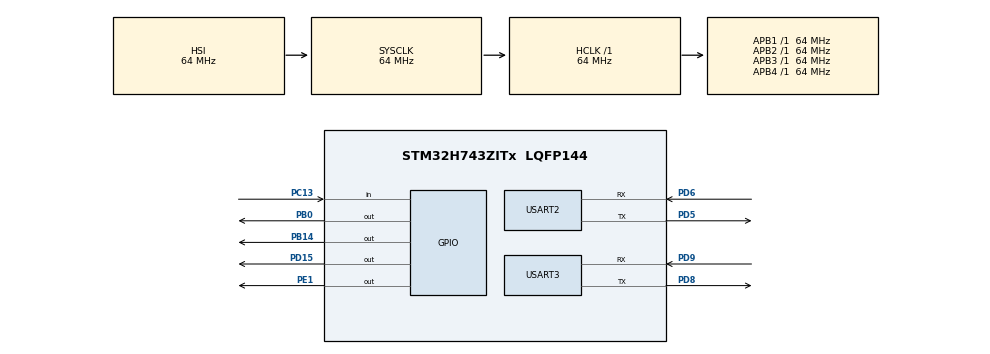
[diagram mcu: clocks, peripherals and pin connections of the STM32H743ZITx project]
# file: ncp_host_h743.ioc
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CORTEX_M7.default_mode_Activation=1
Mcu.Family=STM32H7
Mcu.Name=STM32H743ZITx
Mcu.Package=LQFP144
NUCLEO-H743ZI2.BUTTON=1
NUCLEO-H743ZI2.LD1=true
NUCLEO-H743ZI2.LD2=true
NUCLEO-H743ZI2.LD3=true
NUCLEO-H743ZI2.VCP=false
NVIC.EXTI15_10_IRQn=true\:0\:0\:false\:false\:true\:false\:true\:true
NVIC.PriorityGroup=NVIC_PRIORITYGROUP_4
NVIC.USART2_IRQn=true\:0\:0\:false\:false\:true\:true\:true\:true
NVIC.USART3_IRQn=true\:0\:0\:false\:false\:true\:true\:true\:true
PA13\ (JTMS/SWDIO).GPIO_Label=JTMS
PA13\ (JTMS/SWDIO).Signal=DEBUG_JTMS-SWDIO
PA14\ (JTCK/SWCLK).GPIO_Label=JTCK
PA14\ (JTCK/SWCLK).Signal=DEBUG_JTCK-SWCLK
PB0.Signal=GPIO_Output
PB14.Signal=GPIO_Output
PC13.Signal=GPIO_Input
PC14-OSC32_IN\ (OSC32_IN).Signal=RCC_OSC32_IN
PC15-OSC32_OUT\ (OSC32_OUT).Signal=RCC_OSC32_OUT
PD15.Signal=GPIO_Output
PD5.Mode=Asynchronous
PD5.Signal=USART2_TX
PD6.Mode=Asynchronous
PD6.Signal=USART2_RX
PD8.Mode=Asynchronous
PD8.Signal=USART3_TX
PD9.Mode=Asynchronous
PD9.Signal=USART3_RX
PE1.Signal=GPIO_Output
PH0-OSC_IN\ (PH0).Signal=RCC_OSC_IN
PH1-OSC_OUT\ (PH1).Signal=RCC_OSC_OUT
ProjectManager.HeapSize=0x200
ProjectManager.StackSize=0x400
ProjectManager.TargetToolchain=STM32CubeIDE
RCC.ADCFreq_Value=129000000
RCC.APB1Freq_Value=64000000
RCC.APB2Freq_Value=64000000
RCC.APB3Freq_Value=64000000
RCC.APB4Freq_Value=64000000
RCC.CortexFreq_Value=64000000
RCC.HCLKFreq_Value=64000000
RCC.SYSCLKFreq_VALUE=64000000
RCC.USBFreq_Value=129000000
USART2.VirtualMode-Asynchronous=VM_ASYNC
USART3.VirtualMode-Asynchronous=VM_ASYNC
VP_MEMORYMAP_VS_MEMORYMAP.Mode=CurAppReg
VP_NUCLEO-H743ZI2_VS_BSP_COMMON.Mode=COMMON
board=NUCLEO-H743ZI2

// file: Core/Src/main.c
/* USER CODE BEGIN Header */
/**
 ******************************************************************************
 * @file           : main.c
 * @brief          : Main program body
 ******************************************************************************
 * @attention
 *
 * Copyright (c) 2025 STMicroelectronics.
 * All rights reserved.
 *
 * This software is licensed under terms that can be found in the LICENSE file
 * in the root directory of this software component.
 * If no LICENSE file comes with this software, it is provided AS-IS.
 *
 ******************************************************************************
 */
/* USER CODE END Header */
#include "main.h"

/* USER CODE BEGIN Includes */
#include <stdio.h>
#include "sl_boltON.h"

/* USER CODE END Includes */

/* USER CODE BEGIN PM */

// LED on the STM kit
#define LED_PORT  GPIOB
#define LED_PIN   GPIO_PIN_0

// LED on the boltON
#define BOLTON_LED_PORT  GPIOD
#define BOLTON_LED_PIN   GPIO_PIN_15

/* USER CODE END PM */

UART_HandleTypeDef huart2;
UART_HandleTypeDef huart3;

/* USER CODE BEGIN PV */

// BoltON - huart2
// USB - huart3

// The advertising set handle allocated by the Bluetooth stack
static uint8_t advertising_set_handle = 0xff;

static const uint8_t advertised_name[] = "boltON STM32";
static uint16_t gattdb_session_id;
static uint16_t generic_access_service_handle;
static uint16_t device_name_characteristic_handle;

/* USER CODE END PV */

void SystemClock_Config(void);
static void MPU_Config(void);
static void MX_GPIO_Init(void);
static void MX_USART3_UART_Init(void);
static void MX_USART2_UART_Init(void);
/* USER CODE BEGIN PFP */

void sl_bt_on_event(sl_bt_msg_t *evt);
static void ble_initialize_gatt_db();

/* USER CODE END PFP */

int main(void)
{

  /* MPU Configuration--------------------------------------------------------*/
  MPU_Config();

  /* MCU Configuration--------------------------------------------------------*/

  /* Reset of all peripherals, Initializes the Flash interface and the Systick. */
  HAL_Init();

  /* Configure the system clock */
  SystemClock_Config();

  /* Initialize all configured peripherals */
  MX_GPIO_Init();
  MX_USART3_UART_Init();
  MX_USART2_UART_Init();
  /* USER CODE BEGIN 2 */

  printf("boltON by Silicon Labs\n");
  printf("Initializing BLE...\n");
  bool res = sl_bolton_init();
  assert(res);

  /* USER CODE END 2 */

  /* Initialize leds */
  BSP_LED_Init(LED_GREEN);
  BSP_LED_Init(LED_YELLOW);
  BSP_LED_Init(LED_RED);

  /* Initialize USER push-button, will be used to trigger an interrupt each time it's pressed.*/
  BSP_PB_Init(BUTTON_USER, BUTTON_MODE_EXTI);

  /* Infinite loop */
  while (1) {

    /* USER CODE BEGIN 3 */
    sl_bolton_process();
  }
  /* USER CODE END 3 */
}

void SystemClock_Config(void)
{
  RCC_OscInitTypeDef RCC_OscInitStruct = { 0 };
  RCC_ClkInitTypeDef RCC_ClkInitStruct = { 0 };

  /** Supply configuration update enable
   */
  HAL_PWREx_ConfigSupply(PWR_LDO_SUPPLY);

  /** Configure the main internal regulator output voltage
   */
  __HAL_PWR_VOLTAGESCALING_CONFIG(PWR_REGULATOR_VOLTAGE_SCALE3);

  while (!__HAL_PWR_GET_FLAG(PWR_FLAG_VOSRDY)) {
  }

  /** Initializes the RCC Oscillators according to the specified parameters
   * in the RCC_OscInitTypeDef structure.
   */
  RCC_OscInitStruct.OscillatorType = RCC_OSCILLATORTYPE_HSI;
  RCC_OscInitStruct.HSIState = RCC_HSI_DIV1;
  RCC_OscInitStruct.HSICalibrationValue = RCC_HSICALIBRATION_DEFAULT;
  RCC_OscInitStruct.PLL.PLLState = RCC_PLL_NONE;
  if (HAL_RCC_OscConfig(&RCC_OscInitStruct) != HAL_OK) {
    Error_Handler();
  }

  /** Initializes the CPU, AHB and APB buses clocks
   */
  RCC_ClkInitStruct.ClockType = RCC_CLOCKTYPE_HCLK | RCC_CLOCKTYPE_SYSCLK
                                | RCC_CLOCKTYPE_PCLK1 | RCC_CLOCKTYPE_PCLK2
                                | RCC_CLOCKTYPE_D3PCLK1 | RCC_CLOCKTYPE_D1PCLK1;
  RCC_ClkInitStruct.SYSCLKSource = RCC_SYSCLKSOURCE_HSI;
  RCC_ClkInitStruct.SYSCLKDivider = RCC_SYSCLK_DIV1;
  RCC_ClkInitStruct.AHBCLKDivider = RCC_HCLK_DIV1;
  RCC_ClkInitStruct.APB3CLKDivider = RCC_APB3_DIV1;
  RCC_ClkInitStruct.APB1CLKDivider = RCC_APB1_DIV1;
  RCC_ClkInitStruct.APB2CLKDivider = RCC_APB2_DIV1;
  RCC_ClkInitStruct.APB4CLKDivider = RCC_APB4_DIV1;

  if (HAL_RCC_ClockConfig(&RCC_ClkInitStruct, FLASH_LATENCY_1) != HAL_OK) {
    Error_Handler();
  }
}

static void MX_USART2_UART_Init(void)
{

  huart2.Instance = USART2;
  huart2.Init.BaudRate = 115200;
  huart2.Init.WordLength = UART_WORDLENGTH_8B;
  huart2.Init.StopBits = UART_STOPBITS_1;
  huart2.Init.Parity = UART_PARITY_NONE;
  huart2.Init.Mode = UART_MODE_TX_RX;
  huart2.Init.HwFlowCtl = UART_HWCONTROL_NONE;
  huart2.Init.OverSampling = UART_OVERSAMPLING_16;
  huart2.Init.OneBitSampling = UART_ONE_BIT_SAMPLE_DISABLE;
  huart2.Init.ClockPrescaler = UART_PRESCALER_DIV1;
  huart2.AdvancedInit.AdvFeatureInit = UART_ADVFEATURE_NO_INIT;
  if (HAL_UART_Init(&huart2) != HAL_OK) {
    Error_Handler();
  }
  if (HAL_UARTEx_SetTxFifoThreshold(&huart2, UART_TXFIFO_THRESHOLD_1_8) != HAL_OK) {
    Error_Handler();
  }
  if (HAL_UARTEx_SetRxFifoThreshold(&huart2, UART_RXFIFO_THRESHOLD_1_8) != HAL_OK) {
    Error_Handler();
  }
  if (HAL_UARTEx_DisableFifoMode(&huart2) != HAL_OK) {
    Error_Handler();
  }
}

static void MX_USART3_UART_Init(void)
{

  huart3.Instance = USART3;
  huart3.Init.BaudRate = 115200;
  huart3.Init.WordLength = UART_WORDLENGTH_8B;
  huart3.Init.StopBits = UART_STOPBITS_1;
  huart3.Init.Parity = UART_PARITY_NONE;
  huart3.Init.Mode = UART_MODE_TX_RX;
  huart3.Init.HwFlowCtl = UART_HWCONTROL_NONE;
  huart3.Init.OverSampling = UART_OVERSAMPLING_16;
  huart3.Init.OneBitSampling = UART_ONE_BIT_SAMPLE_DISABLE;
  huart3.Init.ClockPrescaler = UART_PRESCALER_DIV1;
  huart3.AdvancedInit.AdvFeatureInit = UART_ADVFEATURE_NO_INIT;
  if (HAL_UART_Init(&huart3) != HAL_OK) {
    Error_Handler();
  }
  if (HAL_UARTEx_SetTxFifoThreshold(&huart3, UART_TXFIFO_THRESHOLD_1_8) != HAL_OK) {
    Error_Handler();
  }
  if (HAL_UARTEx_SetRxFifoThreshold(&huart3, UART_RXFIFO_THRESHOLD_1_8) != HAL_OK) {
    Error_Handler();
  }
  if (HAL_UARTEx_DisableFifoMode(&huart3) != HAL_OK) {
    Error_Handler();
  }
}

static void MX_GPIO_Init(void)
{
  GPIO_InitTypeDef GPIO_InitStruct = { 0 };

  /* GPIO Ports Clock Enable */
  __HAL_RCC_GPIOC_CLK_ENABLE();
  __HAL_RCC_GPIOH_CLK_ENABLE();
  __HAL_RCC_GPIOD_CLK_ENABLE();
  __HAL_RCC_GPIOA_CLK_ENABLE();

  /*Configure GPIO pin Output Level */
  HAL_GPIO_WritePin(GPIOD, GPIO_PIN_15, GPIO_PIN_RESET);

  /*Configure GPIO pin : PD15 */
  GPIO_InitStruct.Pin = GPIO_PIN_15;
  GPIO_InitStruct.Mode = GPIO_MODE_OUTPUT_PP;
  GPIO_InitStruct.Pull = GPIO_NOPULL;
  GPIO_InitStruct.Speed = GPIO_SPEED_FREQ_LOW;
  HAL_GPIO_Init(GPIOD, &GPIO_InitStruct);

}

/* USER CODE BEGIN 4 */

void HAL_UART_RxCpltCallback(UART_HandleTypeDef *huart)
{
  if (huart->Instance == BOLTON_UART_INSATNCE) {
    sl_bolton_buffer_received_data(1, &bolton_usart_rx_byte);
    // Restart reception
    HAL_UART_Receive_IT(&BOLTON_UART_HANDLE, &bolton_usart_rx_byte, 1);
  }
}

// printf
int _write(int file, char *data, int len)
{
  HAL_UART_Transmit(&huart3, (uint8_t*)data, len, HAL_MAX_DELAY);
  return len;
}

/**************************************************************************//**
 * Bluetooth stack event handler
 * This overrides the default weak implementation
 *
 * @param[in] evt Event coming from the Bluetooth stack
 *****************************************************************************/
void sl_bt_on_event(sl_bt_msg_t *evt)
{
  sl_status_t sc;

  switch (SL_BT_MSG_ID(evt->header)) {
    // -------------------------------
    // This event indicates the device has started and the radio is ready.
    // Do not call any stack command before receiving this boot event!
    case sl_bt_evt_system_boot_id:
    {
      bd_addr address;
      uint8_t address_type;
      uint8_t system_id[8];
      printf("BLE stack booted\n");
      ble_initialize_gatt_db();

      // Extract unique ID from BT Address
      sc = sl_bt_gap_get_identity_address(&address, &address_type);
      assert(sc == SL_STATUS_OK);

      // Pad and reverse unique ID to get System ID
      system_id[0] = address.addr[5];
      system_id[1] = address.addr[4];
      system_id[2] = address.addr[3];
      system_id[3] = address.addr[2];
      system_id[4] = address.addr[1];
      system_id[5] = address.addr[0];
      printf("System identity address: %02x:%02x:%02x:%02x:%02x:%02x\n",
             system_id[0],
             system_id[1],
             system_id[2],
             system_id[3],
             system_id[4],
             system_id[5]);

      // Create an advertising set
      sc = sl_bt_advertiser_create_set(&advertising_set_handle);
      assert(sc == SL_STATUS_OK);

      // Generate data for advertising
      sc = sl_bt_legacy_advertiser_generate_data(advertising_set_handle,
                                                 sl_bt_advertiser_general_discoverable);
      assert(sc == SL_STATUS_OK);

      // Set advertising interval to 100ms
      sc = sl_bt_advertiser_set_timing(
        advertising_set_handle,
        160, // min. adv. interval (milliseconds * 1.6)
        160, // max. adv. interval (milliseconds * 1.6)
        0,   // adv. duration
        0);  // max. num. adv. events
      assert(sc == SL_STATUS_OK);
      // Start advertising and enable connections
      sc = sl_bt_legacy_advertiser_start(advertising_set_handle,
                                         sl_bt_legacy_advertiser_connectable);
      assert(sc == SL_STATUS_OK);
      printf("Started advertising...\n");
    }
    break;

    // -------------------------------
    // This event indicates that a new connection was opened
    case sl_bt_evt_connection_opened_id:
      printf("Connection opened\n");
      HAL_GPIO_WritePin(LED_PORT, LED_PIN, GPIO_PIN_SET);
      HAL_GPIO_WritePin(BOLTON_LED_PORT, BOLTON_LED_PIN, GPIO_PIN_SET);
      break;

    // -------------------------------
    // This event indicates that a connection was closed
    case sl_bt_evt_connection_closed_id:
      printf("Connection closed\n");
      HAL_GPIO_WritePin(LED_PORT, LED_PIN, GPIO_PIN_RESET);
      HAL_GPIO_WritePin(BOLTON_LED_PORT, BOLTON_LED_PIN, GPIO_PIN_RESET);
      // Generate data for advertising
      sc = sl_bt_legacy_advertiser_generate_data(advertising_set_handle,
                                                 sl_bt_advertiser_general_discoverable);
      assert(sc == SL_STATUS_OK);

      // Restart advertising after client has disconnected
      sc = sl_bt_legacy_advertiser_start(advertising_set_handle,
                                         sl_bt_legacy_advertiser_connectable);
      assert(sc == SL_STATUS_OK);
      printf("Restarted advertising...\n");
      break;

    ///////////////////////////////////////////////////////////////////////////
    // Add additional event handlers here as your application requires!      //
    ///////////////////////////////////////////////////////////////////////////

    // -------------------------------
    // Default event handler
    default:
      printf("BLE event: 0x%lx\n", SL_BT_MSG_ID(evt->header));
      break;
  }
}

static void ble_initialize_gatt_db()
{
  sl_status_t sc;
  // Create a new GATT database
  sc = sl_bt_gattdb_new_session(&gattdb_session_id);
  assert(sc == SL_STATUS_OK);

  // Add the Generic Access service to the GATT DB
  const uint8_t generic_access_service_uuid[] = { 0x00, 0x18 };
  sc = sl_bt_gattdb_add_service(gattdb_session_id,
                                sl_bt_gattdb_primary_service,
                                SL_BT_GATTDB_ADVERTISED_SERVICE,
                                sizeof(generic_access_service_uuid),
                                generic_access_service_uuid,
                                &generic_access_service_handle);
  assert(sc == SL_STATUS_OK);

  // Add the Device Name characteristic to the Generic Access service
  // The value of the Device Name characteristic will be advertised
  const sl_bt_uuid_16_t device_name_characteristic_uuid = { .data = { 0x00, 0x2A } };
  sc = sl_bt_gattdb_add_uuid16_characteristic(gattdb_session_id,
                                              generic_access_service_handle,
                                              SL_BT_GATTDB_CHARACTERISTIC_READ,
                                              0x00,
                                              0x00,
                                              device_name_characteristic_uuid,
                                              sl_bt_gattdb_fixed_length_value,
                                              sizeof(advertised_name) - 1,
                                              sizeof(advertised_name) - 1,
                                              advertised_name,
                                              &device_name_characteristic_handle);
  assert(sc == SL_STATUS_OK);

  // Start the Generic Access service
  sc = sl_bt_gattdb_start_service(gattdb_session_id, generic_access_service_handle);
  assert(sc == SL_STATUS_OK);

  // Commit the GATT DB changes
  sc = sl_bt_gattdb_commit(gattdb_session_id);
  assert(sc == SL_STATUS_OK);
}

/* USER CODE END 4 */

/* MPU Configuration */

void MPU_Config(void)
{
  MPU_Region_InitTypeDef MPU_InitStruct = { 0 };

  /* Disables the MPU */
  HAL_MPU_Disable();

  /** Initializes and configures the Region and the memory to be protected
   */
  MPU_InitStruct.Enable = MPU_REGION_ENABLE;
  MPU_InitStruct.Number = MPU_REGION_NUMBER0;
  MPU_InitStruct.BaseAddress = 0x0;
  MPU_InitStruct.Size = MPU_REGION_SIZE_4GB;
  MPU_InitStruct.SubRegionDisable = 0x87;
  MPU_InitStruct.TypeExtField = MPU_TEX_LEVEL0;
  MPU_InitStruct.AccessPermission = MPU_REGION_NO_ACCESS;
  MPU_InitStruct.DisableExec = MPU_INSTRUCTION_ACCESS_DISABLE;
  MPU_InitStruct.IsShareable = MPU_ACCESS_SHAREABLE;
  MPU_InitStruct.IsCacheable = MPU_ACCESS_NOT_CACHEABLE;
  MPU_InitStruct.IsBufferable = MPU_ACCESS_NOT_BUFFERABLE;

  HAL_MPU_ConfigRegion(&MPU_InitStruct);
  /* Enables the MPU */
  HAL_MPU_Enable(MPU_PRIVILEGED_DEFAULT);
}

void Error_Handler(void)
{
  __disable_irq();
  while (1) {
  }
}
